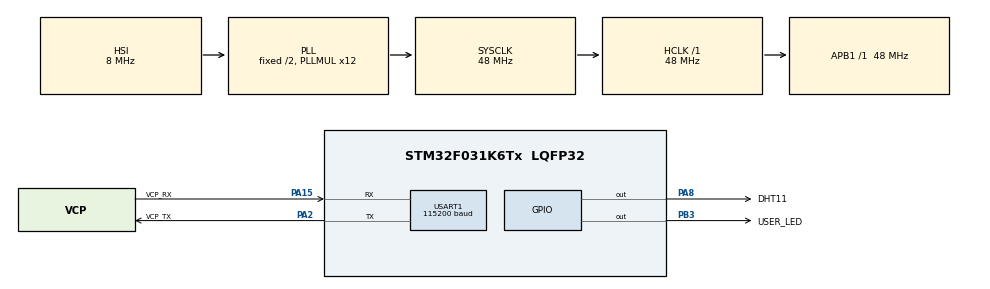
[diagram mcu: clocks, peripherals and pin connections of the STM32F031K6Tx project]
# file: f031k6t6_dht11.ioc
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Mcu.Family=STM32F0
Mcu.Name=STM32F031K6Tx
Mcu.Package=LQFP32
PA13.GPIO_Label=SWDIO
PA13.Mode=Serial_Wire
PA13.Signal=SYS_SWDIO
PA14.GPIO_Label=SWCLK
PA14.Mode=Serial_Wire
PA14.Signal=SYS_SWCLK
PA15.GPIO_Label=VCP_RX
PA15.Mode=Asynchronous
PA15.Signal=USART1_RX
PA2.GPIO_Label=VCP_TX
PA2.Mode=Asynchronous
PA2.Signal=USART1_TX
PA8.GPIO_Label=DHT11
PA8.Signal=GPIO_Output
PB3.GPIO_Label=USER_LED
PB3.Signal=GPIO_Output
ProjectManager.HeapSize=0x200
ProjectManager.StackSize=0x400
ProjectManager.TargetToolchain=STM32CubeIDE
RCC.AHBFreq_Value=48000000
RCC.APB1Freq_Value=48000000
RCC.APB1TimFreq_Value=48000000
RCC.HCLKFreq_Value=48000000
RCC.PLLMUL=RCC_PLL_MUL12
RCC.SYSCLKFreq_VALUE=48000000
RCC.SYSCLKSource=RCC_SYSCLKSOURCE_PLLCLK
TIM1.AutoReloadPreload=TIM_AUTORELOAD_PRELOAD_ENABLE
TIM1.ClockDivision=TIM_CLOCKDIVISION_DIV1
TIM1.Prescaler=48-1
USART1.BaudRate=115200
USART1.VirtualMode-Asynchronous=VM_ASYNC
VP_TIM1_VS_ClockSourceINT.Mode=Internal
board=NUCLEO-F031K6

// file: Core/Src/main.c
/* USER CODE BEGIN Header */
/**
  ******************************************************************************
  * @file           : main.c
  * @brief          : Main program body
  ******************************************************************************
  * @attention
  *
  * Copyright (c) 2025 STMicroelectronics.
  * All rights reserved.
  *
  * This software is licensed under terms that can be found in the LICENSE file
  * in the root directory of this software component.
  * If no LICENSE file comes with this software, it is provided AS-IS.
  *
  ******************************************************************************
  */
/* USER CODE END Header */
#include "main.h"

/* USER CODE BEGIN Includes */
#include <stdio.h>
#include <string.h>
/* USER CODE END Includes */

/* USER CODE BEGIN PD */
//#define DHT_PIN_READ()  HAL_GPIO_ReadPin(DHT11_GPIO_Port, DHT11_Pin)
#define DHT_PIN_READ()		((GPIOA->IDR & GPIO_IDR_8)>>8)
#define USE_SWV			1
/* USER CODE END PD */

TIM_HandleTypeDef htim1;

UART_HandleTypeDef huart1;

/* USER CODE BEGIN PV */

typedef enum
{
	State_Start = 0,
	State_Integral_RH,
	State_Decimal_RH,
	State_Integral_Te,
	State_Decimal_T,
	State_Check
}states_e;

uint8_t Data[5] = {0};
float humid = 0.0;
float temp = 0.0;

/* USER CODE END PV */

void SystemClock_Config(void);
static void MX_GPIO_Init(void);
static void MX_USART1_UART_Init(void);
static void MX_TIM1_Init(void);
/* USER CODE BEGIN PFP */
void PA8_Output_Config(void);
void PA8_Input_Config(void);

void user_delay_us(uint32_t delay);
uint8_t wait_for_low(uint32_t wait_time);
uint8_t wait_for_high(uint32_t wait_time);
uint32_t pulseIn(uint8_t Pin_State, uint32_t timeout);

uint8_t dht11_start(void);
uint8_t dht11_read(void);
void dht11_process(void);

/* USER CODE END PFP */

int main(void)
{

  /* MCU Configuration--------------------------------------------------------*/

  /* Reset of all peripherals, Initializes the Flash interface and the Systick. */
  HAL_Init();

  /* Configure the system clock */
  SystemClock_Config();

  /* Initialize all configured peripherals */
  MX_GPIO_Init();
  MX_USART1_UART_Init();
  MX_TIM1_Init();
  /* USER CODE BEGIN 2 */
  printf("Inicio de programa\r\n");
  setbuf(stdout, NULL);
  TIM1->CR1 |= TIM_CR1_CEN; //Empieza conteo
  /* USER CODE END 2 */

  /* Infinite loop */
  /* USER CODE BEGIN WHILE */
  while (1)
  {
	  if(!dht11_start())
	  {
		  printf("Start Error\r\n");
	  }
	  else
	  {
		  printf("Start Ok\r\n");
	  }

	  if(!dht11_read())
	  {
		  printf("Conversion Fallida\r\n");
	  }
	  else
	  {
		  printf("Conversion Completa\r\n");
		  dht11_process();
	  }

	  HAL_Delay(1500);

    /* USER CODE END WHILE */

  }
}

void SystemClock_Config(void)
{
  RCC_OscInitTypeDef RCC_OscInitStruct = {0};
  RCC_ClkInitTypeDef RCC_ClkInitStruct = {0};
  RCC_PeriphCLKInitTypeDef PeriphClkInit = {0};

  /** Initializes the RCC Oscillators according to the specified parameters
  * in the RCC_OscInitTypeDef structure.
  */
  RCC_OscInitStruct.OscillatorType = RCC_OSCILLATORTYPE_HSI;
  RCC_OscInitStruct.HSIState = RCC_HSI_ON;
  RCC_OscInitStruct.HSICalibrationValue = RCC_HSICALIBRATION_DEFAULT;
  RCC_OscInitStruct.PLL.PLLState = RCC_PLL_ON;
  RCC_OscInitStruct.PLL.PLLSource = RCC_PLLSOURCE_HSI;
  RCC_OscInitStruct.PLL.PLLMUL = RCC_PLL_MUL12;
  RCC_OscInitStruct.PLL.PREDIV = RCC_PREDIV_DIV1;
  if (HAL_RCC_OscConfig(&RCC_OscInitStruct) != HAL_OK)
  {
    Error_Handler();
  }

  /** Initializes the CPU, AHB and APB buses clocks
  */
  RCC_ClkInitStruct.ClockType = RCC_CLOCKTYPE_HCLK|RCC_CLOCKTYPE_SYSCLK
                              |RCC_CLOCKTYPE_PCLK1;
  RCC_ClkInitStruct.SYSCLKSource = RCC_SYSCLKSOURCE_PLLCLK;
  RCC_ClkInitStruct.AHBCLKDivider = RCC_SYSCLK_DIV1;
  RCC_ClkInitStruct.APB1CLKDivider = RCC_HCLK_DIV1;

  if (HAL_RCC_ClockConfig(&RCC_ClkInitStruct, FLASH_LATENCY_1) != HAL_OK)
  {
    Error_Handler();
  }
  PeriphClkInit.PeriphClockSelection = RCC_PERIPHCLK_USART1;
  PeriphClkInit.Usart1ClockSelection = RCC_USART1CLKSOURCE_PCLK1;
  if (HAL_RCCEx_PeriphCLKConfig(&PeriphClkInit) != HAL_OK)
  {
    Error_Handler();
  }
}

static void MX_TIM1_Init(void)
{

  TIM_ClockConfigTypeDef sClockSourceConfig = {0};
  TIM_MasterConfigTypeDef sMasterConfig = {0};

  htim1.Instance = TIM1;
  htim1.Init.Prescaler = 48-1;
  htim1.Init.CounterMode = TIM_COUNTERMODE_UP;
  htim1.Init.Period = 65535;
  htim1.Init.ClockDivision = TIM_CLOCKDIVISION_DIV1;
  htim1.Init.RepetitionCounter = 0;
  htim1.Init.AutoReloadPreload = TIM_AUTORELOAD_PRELOAD_ENABLE;
  if (HAL_TIM_Base_Init(&htim1) != HAL_OK)
  {
    Error_Handler();
  }
  sClockSourceConfig.ClockSource = TIM_CLOCKSOURCE_INTERNAL;
  if (HAL_TIM_ConfigClockSource(&htim1, &sClockSourceConfig) != HAL_OK)
  {
    Error_Handler();
  }
  sMasterConfig.MasterOutputTrigger = TIM_TRGO_RESET;
  sMasterConfig.MasterSlaveMode = TIM_MASTERSLAVEMODE_DISABLE;
  if (HAL_TIMEx_MasterConfigSynchronization(&htim1, &sMasterConfig) != HAL_OK)
  {
    Error_Handler();
  }

}

static void MX_USART1_UART_Init(void)
{

  huart1.Instance = USART1;
  huart1.Init.BaudRate = 115200;
  huart1.Init.WordLength = UART_WORDLENGTH_8B;
  huart1.Init.StopBits = UART_STOPBITS_1;
  huart1.Init.Parity = UART_PARITY_NONE;
  huart1.Init.Mode = UART_MODE_TX_RX;
  huart1.Init.HwFlowCtl = UART_HWCONTROL_NONE;
  huart1.Init.OverSampling = UART_OVERSAMPLING_16;
  huart1.Init.OneBitSampling = UART_ONE_BIT_SAMPLE_DISABLE;
  huart1.AdvancedInit.AdvFeatureInit = UART_ADVFEATURE_NO_INIT;
  if (HAL_UART_Init(&huart1) != HAL_OK)
  {
    Error_Handler();
  }

}

static void MX_GPIO_Init(void)
{
  GPIO_InitTypeDef GPIO_InitStruct = {0};

  /* GPIO Ports Clock Enable */
  __HAL_RCC_GPIOA_CLK_ENABLE();
  __HAL_RCC_GPIOB_CLK_ENABLE();

  /*Configure GPIO pin Output Level */
  HAL_GPIO_WritePin(DHT11_GPIO_Port, DHT11_Pin, GPIO_PIN_RESET);

  /*Configure GPIO pin Output Level */
  HAL_GPIO_WritePin(USER_LED_GPIO_Port, USER_LED_Pin, GPIO_PIN_RESET);

  /*Configure GPIO pin : DHT11_Pin */
  GPIO_InitStruct.Pin = DHT11_Pin;
  GPIO_InitStruct.Mode = GPIO_MODE_OUTPUT_PP;
  GPIO_InitStruct.Pull = GPIO_NOPULL;
  GPIO_InitStruct.Speed = GPIO_SPEED_FREQ_LOW;
  HAL_GPIO_Init(DHT11_GPIO_Port, &GPIO_InitStruct);

  /*Configure GPIO pin : USER_LED_Pin */
  GPIO_InitStruct.Pin = USER_LED_Pin;
  GPIO_InitStruct.Mode = GPIO_MODE_OUTPUT_PP;
  GPIO_InitStruct.Pull = GPIO_NOPULL;
  GPIO_InitStruct.Speed = GPIO_SPEED_FREQ_LOW;
  HAL_GPIO_Init(USER_LED_GPIO_Port, &GPIO_InitStruct);

}

/* USER CODE BEGIN 4 */

void PA8_Output_Config(void)
{
	//pa8 gpio output
  RCC->AHBENR |= RCC_AHBENR_GPIOAEN; //Enable gpioa clock

  GPIOA->MODER &= ~GPIO_MODER_MODER8_Msk; //Clean function
  GPIOA->MODER |= GPIO_MODER_MODER8_0; //Output function

  GPIOA->OTYPER &= ~GPIO_OTYPER_OT_8; //Clean outpyt type

  GPIOA->OSPEEDR &= ~GPIO_OSPEEDR_OSPEEDR8_Msk; //Clean speed
  GPIOA->OSPEEDR |= GPIO_OSPEEDR_OSPEEDR8_0; //Medium

  GPIOA->PUPDR &= ~GPIO_PUPDR_PUPDR8_Msk; //Clean pull

}

void PA8_Input_Config(void)
{
	//pa8 gpio input
  RCC->AHBENR |= RCC_AHBENR_GPIOAEN; //Enable gpioa clock

  GPIOA->MODER &= ~GPIO_MODER_MODER8_Msk; //Clean function, input mode

  GPIOA->PUPDR &= ~GPIO_PUPDR_PUPDR8_Msk; // No pull

}

//Delay en us
void user_delay_us(uint32_t delay)
{
	uint32_t tickstart = TIM1->CNT;

	while(((uint32_t)(TIM1->CNT - tickstart))< delay);
	return;
}

/*
 * @brief Función que mide el tiempo que toma un pin en un determinado estado
 *
 * uint8_t Pin: Pin de entrada (Por ahora no se escoje el puerto)
 * uint8_t Pin_State: Estado del fin final.
 * uint16_t timeout: tiempo que se toma el pin en cambiar de estado a Pin_State
 *
 */
uint32_t pulseIn(uint8_t Pin_State, uint32_t timeout)
{
	uint32_t start_ticks = TIM1->CNT;

	/*Verificamos que el pin cambie de estado*/
	while(DHT_PIN_READ() != Pin_State) //Mientras no cambie de estado
	{
		if(TIM1->CNT - start_ticks > timeout) //Si se pasa del timeout, es error
		{
			return 0; //Error
		}
	}

	uint32_t pulse_ticks = TIM1->CNT; //Guardamos Ticks cuando cambia el pulso

	/*Verificamos que el pin no pase el timeout en el nuevo estado*/
	while(DHT_PIN_READ() == Pin_State)
	{
		if(TIM1->CNT - start_ticks > timeout) //Si pasa de timeout, es error
		{
			return 0;
		}
	}

	return (TIM1->CNT - pulse_ticks);
}

int __io_putchar(int ch){

	uint8_t c = ch & 0xFF;
	while(!(USART1->ISR & USART_ISR_TXE));  //espera hasta que usart este listo para transmitir otro byte
	USART1->TDR = c;
	return ch;
}

uint8_t dht11_start(void)
{
	PA8_Output_Config();
	GPIOA->ODR &= ~GPIO_ODR_8; //Write 0
	HAL_Delay(20);
	GPIOA->ODR |= GPIO_ODR_8; //Write 1
	user_delay_us(40);
	PA8_Input_Config();

	if(pulseIn(GPIO_PIN_RESET, 100) == 0) return 0;
	if(pulseIn(GPIO_PIN_SET, 100) == 0) return 0;

	return 1;
}

uint8_t dht11_read(void)
{
	//uint8_t group_data = 0;
	//uint8_t bit_data = 0;
	uint32_t tick_high = 0;

	/*
	 * Data[0] = int RH data
	 * Data[1] = dec RH data
	 * Data[2] = int TEMP data
	 * Data[3] = dec TEMP data
	 * Data[4] = checksum
	 */
/*
	for(group_data = 0; group_data<=4; group_data++)
	{
		for(bit_data = 0; bit_data<=7; bit_data++)
		{
			tick_high = pulseIn(GPIO_PIN_SET, 100);
			if(tick_high > 40)
			{
				Data[group_data] |= 1<<(7-bit_data);
			}
			else
			{
				Data[group_data] &= ~(1<<(7-bit_data));
			}

		}
	}*/
	for (uint8_t i = 0; i < 40; i++) {
		pulseIn(GPIO_PIN_RESET, 100);
		tick_high = pulseIn(GPIO_PIN_SET, 100); // medir HIGH
	    Data[i/8] <<= 1;
	    if (tick_high > 40) Data[i/8] |= 1;
	}

	if(Data[4] == Data[0] + Data[1] + Data[2] + Data[3])
	{
		return 1; //Conversión completa
	}
	else
	{
		return 0; //Conversión fallida
	}

}

void dht11_process(void)
{
	humid = (float)(Data[0]) + (Data[1]/10.0);
	temp = (float)(Data[2]) + (Data[3]/10.0);

	for(uint8_t i=0; i<=40; i++)
	{
		Data[i] = 0;
	}

	printf("Humedad: %f\r\n",humid);
	printf("Temperatura: %f\r\n",temp);
}

/* USER CODE END 4 */

void Error_Handler(void)
{
  __disable_irq();
  while (1)
  {
  }
}
